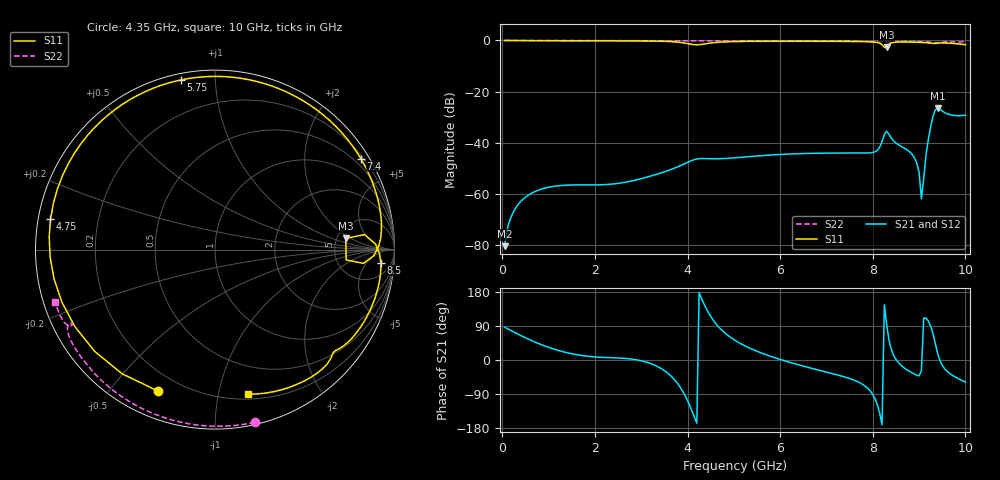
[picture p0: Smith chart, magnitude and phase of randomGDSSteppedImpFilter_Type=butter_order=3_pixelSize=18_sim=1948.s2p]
! freq	dB(S11)	phase(S11)	dB(S12)	phase(S12)
!  dB(S21)	phase(S21)	dB(S22)	phase(S22)
!S-par simulation data
#  GHz  S  DB  R 50
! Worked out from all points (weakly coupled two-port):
!   200 points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, 50 MHz to 10 GHz, reference 50 ohm
!   highest |S21| = -26.45 dB at 9.4 GHz (marker M1); lowest = -80.4 dB at 50 MHz (marker M2)
!   lowest |S11| = -2.7 dB at 8.3 GHz (marker M3), VSWR 6.44, Z = 300 + j80.6 ohm
!   |S11| at or under -10 dB: nowhere
!   |S22| runs from -1.0 to 0.0 dB; largest |S21 - S12| = 0
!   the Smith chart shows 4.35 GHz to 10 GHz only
!   S11 on the Smith chart (normalised r, x): 4.35 GHz: 0.12, -0.67; 4.75 GHz: 0.04, +0.09; 5.75 GHz: 0.03, +0.82; 7.4 GHz: 0.28, +3.47; 8.5 GHz: 13, -13; 10 GHz: 0.24, -1.23
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0.05  -0.00 -5.7  -80.43 86.7  -80.43 86.7  -0.00 -0.9
0.3  -0.04 -33.3  -65.19 70.6  -65.19 70.6  -0.01 -5.6
0.8  -0.09 -82.4  -58.37 42.6  -58.37 42.6  -0.02 -14.9
1.75  -0.12 -149.6  -56.47 11.3  -56.47 11.3  -0.04 -32.3
2.65  -0.16 161.9  -55.45 4.2  -55.45 4.2  -0.06 -48.3
3.4  -0.29 113.9  -51.94 -20.4  -51.94 -20.4  -0.08 -61.2
3.8  -0.68 65.2  -49.32 -64.4  -49.32 -64.4  -0.09 -67.9
4.05  -1.39 0.9  -47.23 -120.9  -47.23 -120.9  -0.10 -72.1
4.35  -1.42 -112.0  -46.16 149.2  -46.16 149.2  -0.11 -77.0
4.75  -0.61 169.6  -46.21 77.6  -46.21 77.6  -0.12 -83.4
5.05  -0.43 141.8  -45.84 50.0  -45.84 50.0  -0.14 -88.2
5.75  -0.32 101.3  -44.84 11.6  -44.84 11.6  -0.17 -99.1
6.7  -0.32 60.1  -44.12 -22.6  -44.12 -22.6  -0.22 -113.5
7.4  -0.38 32.0  -44.00 -45.0  -44.00 -45.0  -0.27 -123.9
8.3  -2.72 4.9  -35.49 93.2  -35.49 93.2  -0.37 -137.3
8.35  -1.54 5.7  -36.67 52.7  -36.67 52.7  -0.37 -138.0
8.5  -0.66 -4.5  -40.09 1.6  -40.09 1.6  -0.38 -140.3
8.9  -0.67 -23.4  -45.86 -37.3  -45.86 -37.3  -0.43 -146.5
9.05  -0.77 -30.0  -61.91 -28.8  -61.91 -28.8  -0.48 -149.1
9.2  -0.95 -36.6  -38.68 102.7  -38.68 102.7  -0.60 -151.9
9.4  -1.06 -43.0  -26.45 17.5  -26.45 17.5  -0.88 -152.1
10  -1.65 -77.0  -29.21 -58.3  -29.21 -58.3  -0.57 -161.9
